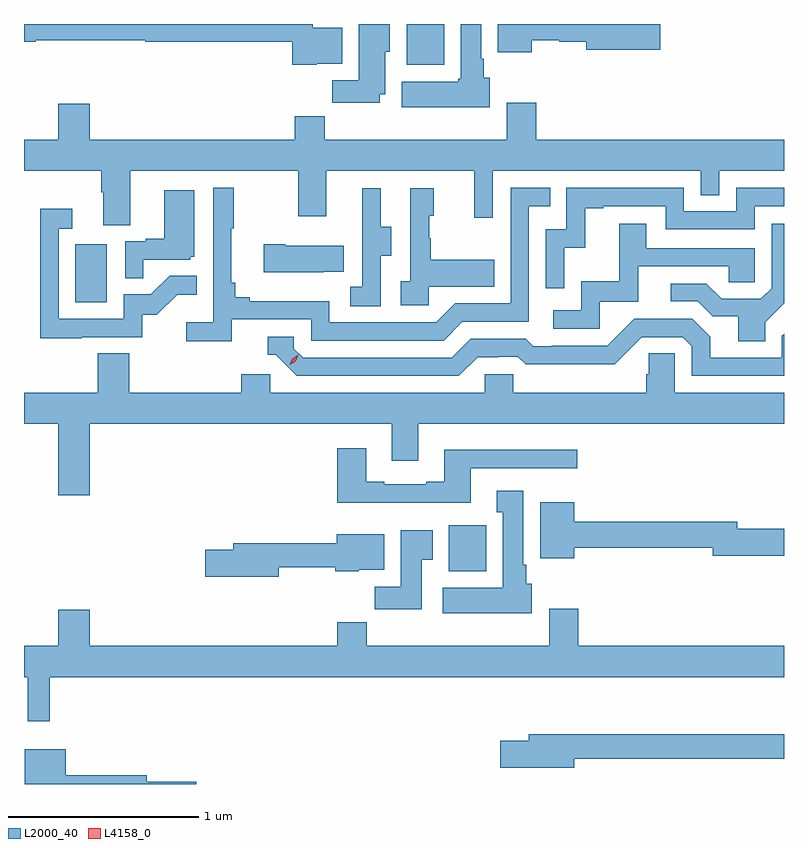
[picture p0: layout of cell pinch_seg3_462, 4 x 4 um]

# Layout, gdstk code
import gdstk
lib = gdstk.Library(unit=1e-6, precision=1e-09)
def R(c, l, rs):  # rectangles x0, y0, x1, y1
    for r in rs: c.add(gdstk.rectangle(r[:2], r[2:], *l))
def P(c, l, *ps):  # polygons
    for p in ps: c.add(gdstk.Polygon(p, *l))
L2000_40 = (2000, 40)
L4158_0 = (4158, 0)

pinch_seg3_462 = lib.new_cell('pinch_seg3_462')
R(pinch_seg3_462, L2000_40, [(898.331,684.158,898.528,684.4), (896.366,685.572,896.53,685.879), (898.109,686.822,898.306,687.037)])
P(pinch_seg3_462, L2000_40, [(898.768,686.952),(898.911,686.952),(898.911,686.944),(899.054,686.944),(899.054,686.902),(899.443,686.902),(899.443,687.037),(898.589,687.037),(898.589,686.888),(898.768,686.888)],
  [(897.636,686.828),(897.769,686.828),(897.769,687.016),(897.615,687.016),(897.615,687.037),(896.095,687.037),(896.095,686.944),(896.156,686.944),(896.156,686.952),(896.733,686.952),(896.733,686.944),(897.507,686.944),(897.507,686.822),(897.636,686.822)],
  [(897.967,686.666),(897.997,686.666),(897.997,686.892),(898.021,686.892),(898.021,687.037),(897.857,687.037),(897.857,686.74),(897.718,686.74),(897.718,686.622),(897.967,686.622)],
  [(898.546,686.754),(898.516,686.754),(898.516,686.854),(898.501,686.854),(898.501,687.037),(898.394,687.037),(898.394,686.748),(898.381,686.748),(898.381,686.734),(898.082,686.734),(898.082,686.6),(898.546,686.6)],
  [(896.653,686.264),(897.538,686.264),(897.538,686.025),(897.685,686.025),(897.685,686.264),(898.466,686.264),(898.466,686.016),(898.563,686.016),(898.563,686.264),(899.658,686.264),(899.658,686.137),(899.754,686.137),(899.754,686.264),(900.095,686.264),(900.095,686.428),(898.79,686.428),(898.79,686.623),(898.637,686.623),(898.637,686.428),(897.677,686.428),(897.677,686.552),(897.521,686.552),(897.521,686.428),(896.44,686.428),(896.44,686.617),(896.276,686.617),(896.276,686.428),(896.095,686.428),(896.095,686.264),(896.501,686.264),(896.501,686.152),(896.513,686.152),(896.513,685.978),(896.653,685.978)],
  [(897.188,685.482),(897.606,685.482),(897.606,685.371),(898.303,685.371),(898.402,685.47),(898.752,685.47),(898.752,686.079),(898.865,686.079),(898.865,686.175),(898.656,686.175),(898.656,685.566),(898.365,685.566),(898.266,685.467),(897.702,685.467),(897.702,685.579),(897.283,685.579),(897.283,685.598),(897.206,685.598),(897.206,685.675),(897.187,685.675),(897.187,685.963),(897.199,685.963),(897.199,686.176),(897.09,686.176),(897.09,685.468),(896.949,685.468),(896.949,685.366),(897.188,685.366)],
  [(898.938,685.859),(899.048,685.859),(899.048,686.067),(899.143,686.067),(899.143,686.079),(899.472,686.079),(899.472,685.956),(899.94,685.956),(899.94,686.079),(900.095,686.079),(900.095,686.175),(899.844,686.175),(899.844,686.052),(899.568,686.052),(899.568,686.175),(898.95,686.175),(898.95,685.956),(898.842,685.956),(898.842,685.647),(898.938,685.647)],
  [(898.224,685.655),(898.571,685.655),(898.571,685.795),(898.237,685.795),(898.237,685.91),(898.227,685.91),(898.227,686.028),(898.252,686.028),(898.252,686.173),(898.128,686.173),(898.128,685.682),(898.077,685.682),(898.077,685.557),(898.224,685.557)],
  [(897.972,685.816),(898.027,685.816),(898.027,685.971),(897.973,685.971),(897.973,686.173),(897.875,686.173),(897.875,685.959),(897.876,685.959),(897.876,685.655),(897.813,685.655),(897.813,685.552),(897.972,685.552)],
  [(896.723,685.797),(896.97,685.797),(896.97,685.812),(896.992,685.812),(896.992,686.161),(896.834,686.161),(896.834,685.906),(896.735,685.906),(896.735,685.893),(896.628,685.893),(896.628,685.699),(896.723,685.699)],
  [(896.399,685.389),(896.718,685.389),(896.718,685.506),(896.794,685.506),(896.901,685.613),(897.005,685.613),(897.005,685.712),(896.861,685.712),(896.763,685.614),(896.619,685.614),(896.619,685.485),(896.277,685.485),(896.277,685.959),(896.35,685.959),(896.35,686.065),(896.181,686.065),(896.181,685.384),(896.399,685.384)],
  [(899.124,685.575),(899.329,685.575),(899.329,685.761),(899.803,685.761),(899.803,685.677),(899.94,685.677),(899.94,685.857),(899.371,685.857),(899.371,685.987),(899.227,685.987),(899.227,685.684),(899.028,685.684),(899.028,685.53),(898.881,685.53),(898.881,685.434),(899.124,685.434)],
  [(899.995,685.468),(900.095,685.568),(900.095,685.987),(900.03,685.987),(900.03,685.647),(899.973,685.59),(899.767,685.59),(899.686,685.671),(899.499,685.671),(899.499,685.578),(899.64,685.578),(899.72,685.498),(899.855,685.498),(899.855,685.366),(899.995,685.366)],
  [(897.671,685.733),(897.779,685.733),(897.779,685.87),(897.469,685.87),(897.469,685.878),(897.357,685.878),(897.357,685.73),(897.671,685.73)],
  [(898.483,685.284),(898.59,685.284),(898.59,685.287),(898.693,685.287),(898.735,685.245),(898.968,685.245),(898.968,685.247),(899.204,685.247),(899.346,685.389),(899.562,685.389),(899.61,685.341),(899.61,685.185),(900.095,685.185),(900.095,685.406),(900.084,685.395),(900.084,685.281),(899.707,685.281),(899.707,685.391),(899.613,685.485),(899.307,685.485),(899.166,685.344),(898.873,685.344),(898.873,685.341),(898.774,685.341),(898.735,685.38),(898.446,685.38),(898.347,685.281),(897.564,685.281),(897.516,685.329),(897.516,685.392),(897.377,685.392),(897.377,685.296),(897.42,685.296),(897.531,685.185),(898.384,685.185)],
  [(896.44,684.932),(898.031,684.932),(898.031,684.738),(898.171,684.738),(898.171,684.932),(900.095,684.932),(900.095,685.096),(899.52,685.096),(899.52,685.304),(899.383,685.304),(899.383,685.194),(899.369,685.194),(899.369,685.096),(898.671,685.096),(898.671,685.194),(898.521,685.194),(898.521,685.096),(897.39,685.096),(897.39,685.194),(897.239,685.194),(897.239,685.096),(896.648,685.096),(896.648,685.304),(896.483,685.304),(896.483,685.096),(896.095,685.096),(896.095,684.932),(896.276,684.932),(896.276,684.558),(896.44,684.558)],
  [(898.447,684.699),(899.008,684.699),(899.008,684.796),(898.307,684.796),(898.307,684.628),(898.211,684.628),(898.211,684.615),(897.991,684.615),(897.991,684.628),(897.895,684.628),(897.895,684.805),(897.743,684.805),(897.743,684.518),(898.447,684.518)],
  [(898.768,684.09),(898.738,684.09),(898.738,684.19),(898.723,684.19),(898.723,684.58),(898.583,684.58),(898.583,684.467),(898.616,684.467),(898.616,684.07),(898.299,684.07),(898.299,683.936),(898.768,683.936)],
  [(898.99,684.28),(899.72,684.28),(899.72,684.238),(900.095,684.238),(900.095,684.38),(899.848,684.38),(899.848,684.416),(898.99,684.416),(898.99,684.52),(898.811,684.52),(898.811,684.224),(898.99,684.224)],
  [(898.189,684.217),(898.246,684.217),(898.246,684.373),(898.079,684.373),(898.079,684.076),(897.94,684.076),(897.94,683.958),(898.189,683.958)],
  [(897.436,684.177),(897.733,684.177),(897.733,684.158),(897.858,684.158),(897.858,684.164),(897.991,684.164),(897.991,684.352),(897.74,684.352),(897.74,684.305),(897.197,684.305),(897.197,684.269),(897.048,684.269),(897.048,684.127),(897.436,684.127)],
  [(896.231,683.6),(900.095,683.6),(900.095,683.764),(899.012,683.764),(899.012,683.959),(898.859,683.959),(898.859,683.764),(897.899,683.764),(897.899,683.888),(897.743,683.888),(897.743,683.764),(896.44,683.764),(896.44,683.953),(896.276,683.953),(896.276,683.764),(896.095,683.764),(896.095,683.6),(896.114,683.6),(896.114,683.367),(896.231,683.367)],
  [(898.99,683.17),(900.095,683.17),(900.095,683.299),(898.751,683.299),(898.751,683.265),(898.602,683.265),(898.602,683.123),(898.99,683.123)],
  [(897.001,683.048),(896.74,683.048),(896.74,683.084),(896.314,683.084),(896.314,683.221),(896.099,683.221),(896.099,683.037),(897.001,683.037)])
P(pinch_seg3_462, L4158_0, [(897.493,685.243),(897.493,685.243),(897.508,685.276),(897.539,685.296),(897.539,685.296),(897.539,685.296),(897.524,685.263),(897.493,685.243)])

lib.write_gds('pinch_seg3_462.gds')
